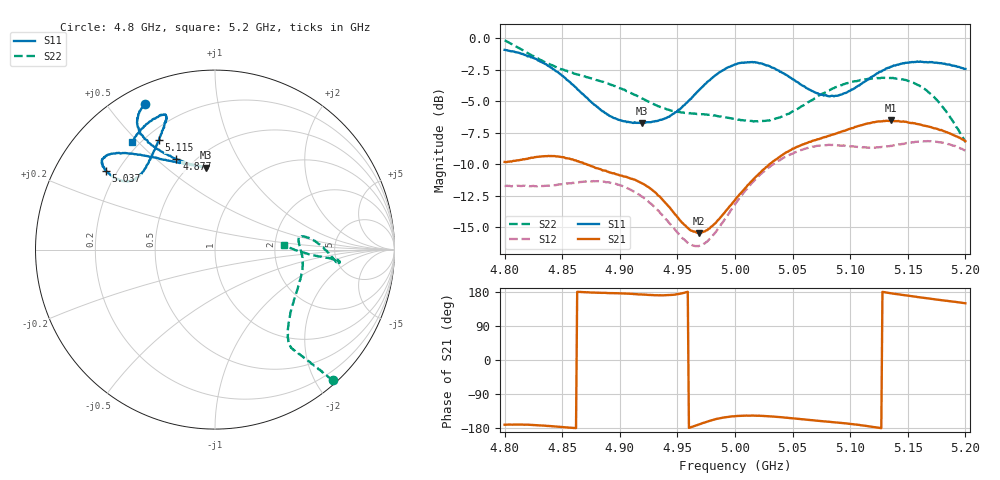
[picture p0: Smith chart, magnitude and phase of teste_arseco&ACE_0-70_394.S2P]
! Network Analyzer HP8722D
! Hewlett-Packard
! Data name: Linha & Wilkinson
! Saver's name: Rodrigo Anjos
! Comments: Teste da utilização de aquisição
! continua pelo VNA HP8722D
! Time and date: 8/5/2025 16:02
!  Frequency  S11  S21  S12  S22
# HZ  S  MA R 50
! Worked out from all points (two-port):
!   401 points, 4.8 GHz to 5.2 GHz, reference 50 ohm
!   highest |S21| = -6.53 dB at 5.135 GHz (marker M1); lowest = -15.5 dB at 4.969 GHz (marker M2)
!   |S21| within 3 dB of the highest: 4.822 GHz to 4.853 GHz (30.92 MHz wide, 0.639 % of centre); 5.037 GHz to end of sweep (the widest 2 of 3)
!   lowest |S11| = -6.7 dB at 4.919 GHz (marker M3), VSWR 2.70, Z = 30 + j34.9 ohm
!   |S11| at or under -10 dB: nowhere
!   |S22| runs from -8.3 to -0.2 dB; largest |S21 - S12| = 0.83
!   S11 on the Smith chart (normalised r, x): 4.8 GHz: 0.07, +0.63; 4.877 GHz: 0.40, +0.58; 5.037 GHz: 0.16, +0.32; 5.115 GHz: 0.25, +0.58; 5.2 GHz: 0.17, +0.48
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4.8e9  0.9003 115.7  0.3226 -170.8  0.2588 -86.2  0.981 -47.8
4.823e9  0.8401 121.0  0.3353 -171.2  0.2584 -80.7  0.8587 -49.3
4.838e9  0.7766 122.5  0.3408 -173.9  0.26 -75.7  0.7934 -50.2
4.867e9  0.604 117.6  0.3212 179.3  0.2687 -67.8  0.711 -51.9
4.877e9  0.5487 113.0  0.3086 177.9  0.2706 -66.8  0.6892 -52.2
4.901e9  0.4721 100.5  0.2846 175.8  0.2598 -67.6  0.6316 -50.1
4.919e9  0.4601 96.2  0.2657 173.0  0.2349 -69.5  0.5776 -44.7
4.934e9  0.472 100.0  0.2361 170.6  0.2053 -70.0  0.5362 -37.0
4.957e9  0.5488 116.1  0.1801 178.3  0.1567 -59.8  0.5058 -21.8
4.969e9  0.6246 124.2  0.1683 -169.7  0.1496 -46.3  0.5005 -14.7
4.981e9  0.7014 130.5  0.1806 -158.0  0.165 -33.1  0.4933 -8.6
5e9  0.7877 137.3  0.2275 -148.4  0.219 -21.7  0.4778 -0.3
5.018e9  0.8021 141.8  0.2812 -147.0  0.276 -18.9  0.4684 5.7
5.037e9  0.7471 144.2  0.3331 -150.1  0.3243 -19.1  0.482 8.7
5.067e9  0.6172 142.1  0.3907 -158.8  0.3706 -21.5  0.5691 3.9
5.088e9  0.5913 132.9  0.4186 -164.7  0.3756 -24.6  0.6407 -2.6
5.115e9  0.6848 117.2  0.4587 -174.6  0.3676 -27.6  0.6894 -6.1
5.134e9  0.7639 111.0  0.4688 176.9  0.3726 -29.6  0.6955 -5.6
5.135e9  0.7701 110.9  0.4715 176.4  0.3738 -29.7  0.696 -5.5
5.161e9  0.8086 112.4  0.4542 165.2  0.389 -36.0  0.6444 -4.4
5.179e9  0.7969 118.6  0.4324 158.1  0.3855 -41.8  0.542 -3.1
5.2e9  0.7557 127.6  0.3901 149.7  0.358 -47.5  0.3866 3.5
